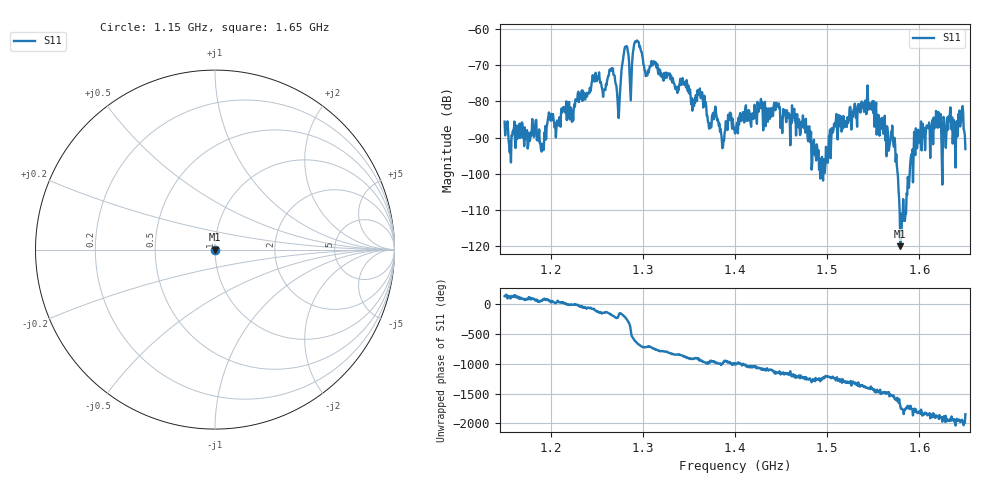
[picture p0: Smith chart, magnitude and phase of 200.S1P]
! C:\Users\rflab\Downloads\Lab5_KD_ZW\Q2\200.S1P
! Touchstone 1.1 file saved by VNA.EXE V1.65 (www.ke5fx.com/gpib/readme.htm)
! 11/12/2024 1:25:32 AM
!  Source: HEWLETT PACKARD,8753D,0,6.14
!  Min freq: 1.150000E+009 Hz
!  Max freq: 1.650000E+009 Hz
!  Points: 801
!  Params: S21
# GHZ S RI R 50
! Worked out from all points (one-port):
!   801 points, 1.15 GHz to 1.65 GHz, reference 50 ohm
!   lowest |S11| = -120.0 dB at 1.579 GHz (marker M1), VSWR 1.00, Z = 50 + j0.0001 ohm
!   |S11| at or under -10 dB: start of sweep to end of sweep
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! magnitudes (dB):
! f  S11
! 1.15 GHz  -85.6
! 1.212 GHz  -83.1
! 1.239 GHz  -78.7
! 1.251 GHz  -73.9
! 1.258 GHz  -76.7
! 1.265 GHz  -71.6
! 1.269 GHz  -72.8
! 1.272 GHz  -79.4
! 1.275 GHz  -78.3
! 1.281 GHz  -64.9
! 1.282 GHz  -64.7
! 1.285 GHz  -68.8
! 1.287 GHz  -79.7
! 1.293 GHz  -63.3
! 1.297 GHz  -64.8
! 1.304 GHz  -72.8
! 1.312 GHz  -68.9
! 1.337 GHz  -77.7
! 1.346 GHz  -74.6
! 1.354 GHz  -80.8
! 1.362 GHz  -76.4
! 1.37 GHz  -83.9
! 1.4 GHz  -88.9
! 1.462 GHz  -84.6
! 1.525 GHz  -81.5
! 1.579 GHz  -120.0
! 1.587 GHz  -100.9
! 1.65 GHz  -93.2
